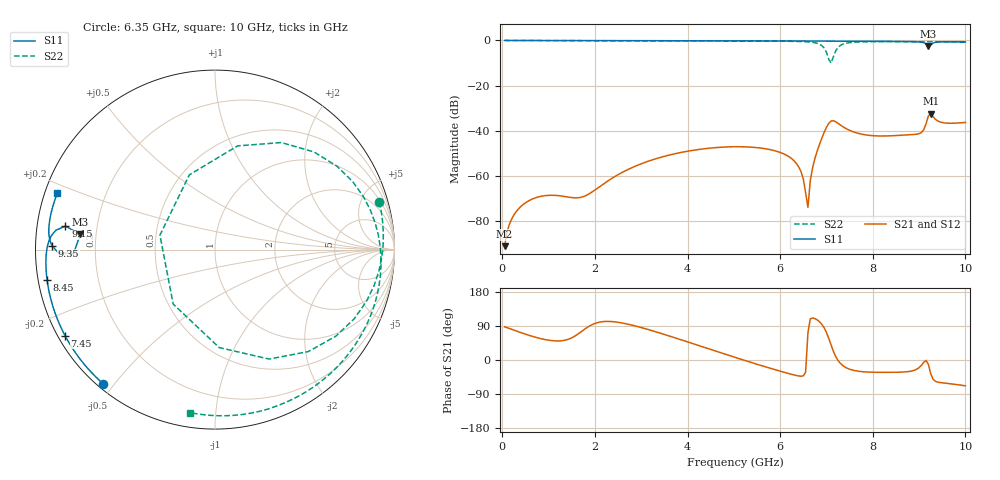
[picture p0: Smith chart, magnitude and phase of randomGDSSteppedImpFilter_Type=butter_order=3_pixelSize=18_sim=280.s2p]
! freq	dB(S11)	phase(S11)	dB(S12)	phase(S12)
!  dB(S21)	phase(S21)	dB(S22)	phase(S22)
!S-par simulation data
#  GHz  S  DB  R 50
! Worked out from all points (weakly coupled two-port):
!   200 points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, 50 MHz to 10 GHz, reference 50 ohm
!   highest |S21| = -32.40 dB at 9.25 GHz (marker M1); lowest = -90.9 dB at 50 MHz (marker M2)
!   lowest |S11| = -2.4 dB at 9.2 GHz (marker M3), VSWR 7.17, Z = 6.99 + j2.77 ohm
!   |S11| at or under -10 dB: nowhere
!   |S22| runs from -10.0 to 0.0 dB; largest |S21 - S12| = 0
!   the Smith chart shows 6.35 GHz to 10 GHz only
!   S11 on the Smith chart (normalised r, x): 6.35 GHz: 0.02, -0.47; 7.45 GHz: 0.02, -0.27; 8.45 GHz: 0.03, -0.09; 9.15 GHz: 0.09, +0.08; 9.35 GHz: 0.05, +0.01; 10 GHz: 0.04, +0.17
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0.05  -0.00 -1.1  -90.92 87.7  -90.92 87.7  -0.00 -3.5
0.95  -0.03 -21.4  -68.53 53.3  -68.53 53.3  -0.08 -63.4
1.75  -0.05 -39.0  -69.02 78.8  -69.02 78.8  -0.12 -111.2
2.6  -0.07 -57.1  -58.20 97.4  -58.20 97.4  -0.16 -156.2
3.4  -0.10 -73.6  -51.77 71.3  -51.77 71.3  -0.19 164.7
4.3  -0.13 -91.3  -48.02 35.8  -48.02 35.8  -0.22 121.7
5.05  -0.16 -105.7  -46.97 6.0  -46.97 6.0  -0.25 85.4
6.35  -0.24 -129.8  -54.35 -41.0  -54.35 -41.0  -0.42 16.2
6.5  -0.25 -132.6  -61.19 -41.9  -61.19 -41.9  -0.51 5.6
6.6  -0.26 -134.4  -73.78 71.9  -73.78 71.9  -0.63 -2.7
6.7  -0.26 -136.2  -56.32 111.0  -56.32 111.0  -0.83 -12.9
6.95  -0.28 -140.9  -40.64 84.9  -40.64 84.9  -3.34 -63.7
7.1  -0.29 -143.6  -35.61 39.3  -35.61 39.3  -9.97 165.3
7.2  -0.30 -145.5  -35.91 9.0  -35.91 9.0  -4.56 77.7
7.45  -0.33 -150.2  -39.24 -21.8  -39.24 -21.8  -1.13 19.7
8.35  -0.42 -167.6  -42.18 -32.5  -42.18 -32.5  -0.50 -36.6
8.45  -0.44 -169.7  -42.09 -32.5  -42.09 -32.5  -0.50 -40.8
9.15  -1.47 171.1  -36.87 -1.2  -36.87 -1.2  -0.57 -67.9
9.2  -2.44 173.5  -33.40 -11.3  -33.40 -11.3  -0.57 -69.7
9.25  -2.06 -178.3  -32.40 -35.9  -32.40 -35.9  -0.57 -71.6
9.35  -0.83 178.6  -34.78 -56.0  -34.78 -56.0  -0.59 -75.2
10  -0.60 160.4  -36.22 -68.2  -36.22 -68.2  -0.74 -98.7
